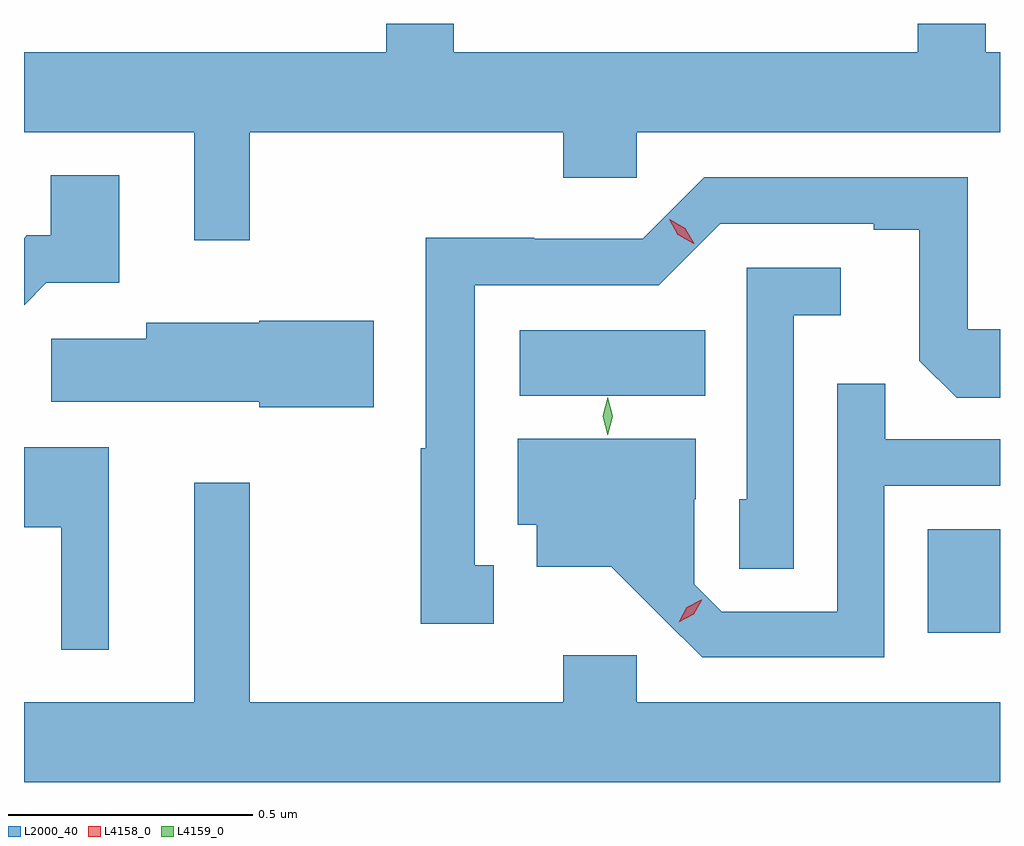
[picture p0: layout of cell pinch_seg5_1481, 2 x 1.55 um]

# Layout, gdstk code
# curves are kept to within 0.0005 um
import gdstk
lib = gdstk.Library(unit=1e-6, precision=1e-09)
def R(c, l, rs):  # rectangles x0, y0, x1, y1
    for r in rs: c.add(gdstk.rectangle(r[:2], r[2:], *l))
def P(c, l, *ps):  # polygons
    for p in ps: c.add(gdstk.Polygon(p, *l))
L2000_40 = (2000, 40)
L4158_0 = (4158, 0)
L4159_0 = (4159, 0)

pinch_seg5_1481 = lib.new_cell('pinch_seg5_1481')
R(pinch_seg5_1481, L2000_40, [(145.094,903.686,145.242,903.898), (144.258,904.172,144.638,904.306)])
P(pinch_seg5_1481, L2000_40, [(143.705,904.712),(144.347,904.712),(144.347,904.619),(144.498,904.619),(144.498,904.712),(145.242,904.712),(145.242,904.876),(145.213,904.876),(145.213,904.934),(145.073,904.934),(145.073,904.876),(144.123,904.876),(144.123,904.934),(143.984,904.934),(143.984,904.876),(143.242,904.876),(143.242,904.712),(143.591,904.712),(143.591,904.491),(143.705,904.491)],
  [(143.288,904.403),(143.437,904.403),(143.437,904.624),(143.297,904.624),(143.297,904.501),(143.248,904.501),(143.242,904.495),(143.242,904.357)],
  [(144.205,903.825),(144.166,903.825),(144.166,904.398),(144.543,904.398),(144.669,904.524),(144.983,904.524),(144.983,904.512),(145.077,904.512),(145.077,904.244),(145.153,904.168),(145.242,904.168),(145.242,904.308),(145.176,904.308),(145.176,904.62),(144.636,904.62),(144.51,904.494),(144.288,904.494),(144.288,904.496),(144.065,904.496),(144.065,904.064),(144.055,904.064),(144.055,903.705),(144.205,903.705)],
  [(144.819,904.337),(144.916,904.337),(144.916,904.434),(144.723,904.434),(144.723,903.96),(144.708,903.96),(144.708,903.817),(144.819,903.817)],
  [(143.959,904.326),(143.724,904.326),(143.724,904.321),(143.492,904.321),(143.492,904.289),(143.298,904.289),(143.298,904.16),(143.724,904.16),(143.724,904.148),(143.959,904.148)],
  [(145.005,903.987),(145.242,903.987),(145.242,904.083),(145.007,904.083),(145.007,904.196),(144.909,904.196),(144.909,903.729),(144.672,903.729),(144.615,903.786),(144.615,903.96),(144.619,903.96),(144.619,904.084),(144.254,904.084),(144.254,903.908),(144.293,903.908),(144.293,903.821),(144.445,903.821),(144.632,903.636),(145.005,903.636)],
  [(143.416,904.066),(143.242,904.066),(143.242,903.902),(143.318,903.902),(143.318,903.651),(143.416,903.651)],
  [(143.591,903.994),(143.591,903.544),(143.242,903.544),(143.242,903.38),(145.242,903.38),(145.242,903.544),(144.498,903.544),(144.498,903.64),(144.347,903.64),(144.347,903.544),(143.705,903.544),(143.705,903.994)])
P(pinch_seg5_1481, L4158_0, [(144.614,904.483),(144.582,904.502),(144.564,904.534),(144.564,904.534),(144.565,904.534),(144.597,904.515),(144.615,904.483),(144.615,904.483)],
  [(144.584,903.708),(144.584,903.708),(144.6,903.738),(144.63,903.754),(144.631,903.754),(144.631,903.753),(144.614,903.724),(144.584,903.708)])
P(pinch_seg5_1481, L4159_0, [(144.438,904.091),(144.438,904.091),(144.428,904.13),(144.438,904.169),(144.438,904.169),(144.438,904.169),(144.448,904.13),(144.438,904.091)])

lib.write_gds('pinch_seg5_1481.gds')
